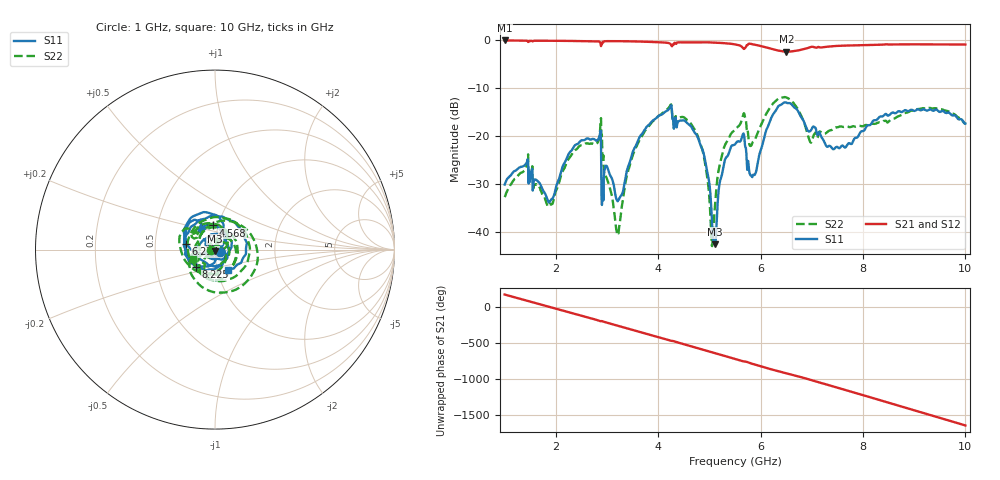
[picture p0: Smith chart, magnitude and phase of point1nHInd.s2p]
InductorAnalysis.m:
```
clc
clear all
close all

X = csvread('VNA_lumped_inductor2.csv',1,0,[1 0 201 4]);
load('lumped.mat');
f = X(:,1);
s11_24 = X(:,2) + 1i*X(:,3);
z11_24 = 50.*(1+s11_24)./(1-s11_24);
s11_40 = X(:,4) + 1i*X(:,5);
z11_40 = imag(50.*(1+s11_40)./(1-s11_40));

f_ads = lumped_tester.dataBlocks(2).data.independent(1,:);
z_ads = imag(lumped_tester.dataBlocks(2).data.dependents(1,:));
figure;
plot(f_ads,z_ads,f,z11_40);

figure
plot(f,abs(z11_24));
%%

data = read(rfdata.data,'point1nHInd.s2p');
%S_measured = sparameters('point1nHInd.s2p');
s_params = extract(data,'S_PARAMETERS',50);
s11 = s_params(1,1,:);
s21 = s_params(2,1,:);
for i = 1:1000
    s11_1(1,i) = s11(1,1,i);
end
for i = 1:1000
    s21_1(1,i) = s21(1,1,i);
end

z11_vna = 50.*(1+s11_1)./(1-s11_1);
y = linspace(1e9,10e9,1000);
plot(y,z11_vna);

plot(f,z11_24,f,z11_40,y,z11_vna);
legend('24','40','newvna')
```
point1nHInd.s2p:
!Agilent Technologies,E8364B,US42250173,A.07.50.67
!Agilent E8364B: A.07.50.67
!Date: Friday, October 27, 2017 12:13:15
!Correction: S11(Full 2 Port(1,2))
!S21(Full 2 Port(1,2))
!S12(Full 2 Port(1,2))
!S22(Full 2 Port(1,2))
!S2P File: Measurements: S11, S21, S12, S22:
# Hz S  dB  R 50
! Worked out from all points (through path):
!   1000 points, 1 GHz to 10 GHz, reference 50 ohm
!   highest |S21| = -0.15 dB at 1 GHz (marker M1); lowest = -2.5 dB at 6.505 GHz (marker M2)
!   group delay of S21, straight-line fit = 558 ps
!   lowest |S11| = -42.6 dB at 5.108 GHz (marker M3), VSWR 1.01, Z = 49.8 - j0.72 ohm
!   |S11| at or under -10 dB: start of sweep to end of sweep
!   |S22| runs from -43.0 to -12.0 dB; largest |S21 - S12| = 0.00088
!   S11 on the Smith chart (normalised r, x): 1 GHz: 1.06, -0.02; 4.568 GHz: 0.94, +0.26; 6.234 GHz: 0.72, +0.05; 8.225 GHz: 0.79, -0.16; 10 GHz: 1.13, -0.26
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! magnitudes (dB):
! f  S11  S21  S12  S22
! 1 GHz  -30.2  -0.2  -0.2  -32.8
! 2.856 GHz  -20.0  -0.4  -0.4  -19.9
! 3.207 GHz  -33.7  -0.3  -0.3  -40.6
! 3.73 GHz  -18.9  -0.4  -0.4  -19.2
! 4.568 GHz  -17.4  -0.6  -0.6  -16.8
! 5.108 GHz  -42.6  -0.6  -0.6  -34.7
! 5.505 GHz  -21.7  -1.0  -1.0  -18.7
! 6.234 GHz  -15.7  -2.0  -2.0  -13.4
! 6.505 GHz  -13.1  -2.5  -2.5  -12.0
! 8.225 GHz  -16.8  -1.1  -1.1  -17.5
! 10 GHz  -17.5  -1.0  -1.0  -17.6
